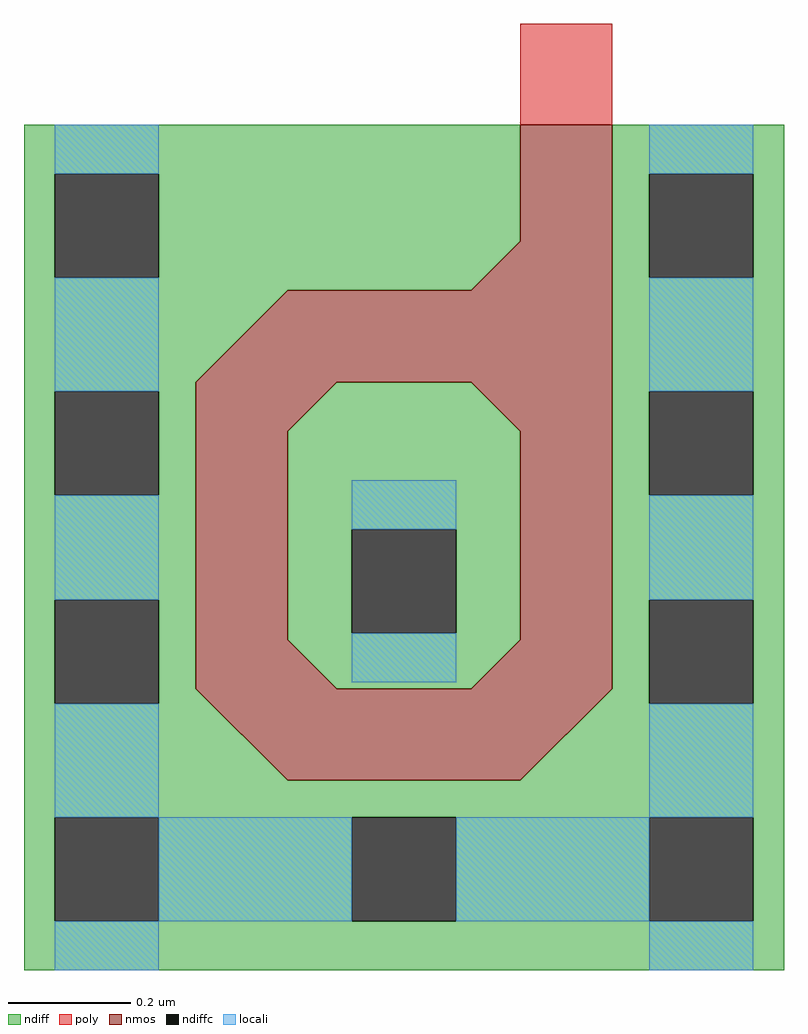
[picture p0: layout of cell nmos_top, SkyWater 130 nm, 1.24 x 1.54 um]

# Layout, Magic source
magic
tech sky130A
magscale 1 2
<< nmos >>
tri 145 222 161 238 se
rect 161 222 191 276
tri 55 192 85 222 se
rect 85 192 191 222
rect 55 92 85 192
tri 85 176 101 192 nw
tri 145 176 161 192 ne
tri 85 92 101 108 sw
tri 145 92 161 108 se
rect 161 92 191 192
tri 55 62 85 92 ne
rect 85 62 161 92
tri 161 62 191 92 nw
<< ndiff >>
rect -1 260 161 276
rect -1 226 9 260
rect 43 238 161 260
rect 43 226 145 238
rect -1 222 145 226
tri 145 222 161 238 nw
rect 191 260 247 276
rect 191 226 203 260
rect 237 226 247 260
rect -1 189 55 222
tri 55 192 85 222 nw
rect -1 155 9 189
rect 43 155 55 189
rect -1 121 55 155
rect -1 87 9 121
rect 43 87 55 121
tri 85 176 101 192 se
rect 101 176 145 192
tri 145 176 161 192 sw
rect 85 144 161 176
rect 85 110 106 144
rect 140 110 161 144
rect 85 108 161 110
tri 85 92 101 108 ne
rect 101 92 145 108
tri 145 92 161 108 nw
rect 191 189 247 226
rect 191 155 203 189
rect 237 155 247 189
rect 191 121 247 155
rect -1 62 55 87
tri 55 62 85 92 sw
tri 161 62 191 92 se
rect 191 87 203 121
rect 237 87 247 121
rect 191 62 247 87
rect -1 50 247 62
rect -1 16 9 50
rect 43 16 106 50
rect 140 16 203 50
rect 237 16 247 50
rect -1 0 247 16
<< ndiffc >>
rect 9 226 43 260
rect 203 226 237 260
rect 9 155 43 189
rect 9 87 43 121
rect 106 110 140 144
rect 203 155 237 189
rect 203 87 237 121
rect 9 16 43 50
rect 106 16 140 50
rect 203 16 237 50
<< poly >>
rect 161 276 191 309
<< locali >>
rect 9 260 43 276
rect 9 189 43 226
rect 203 260 237 276
rect 203 189 237 226
rect 9 121 43 155
rect 106 144 140 160
rect 106 94 140 110
rect 203 121 237 155
rect 9 50 43 87
rect 203 50 237 87
rect 43 16 106 50
rect 140 16 203 50
rect 9 0 43 16
rect 203 0 237 16
<< end >>
